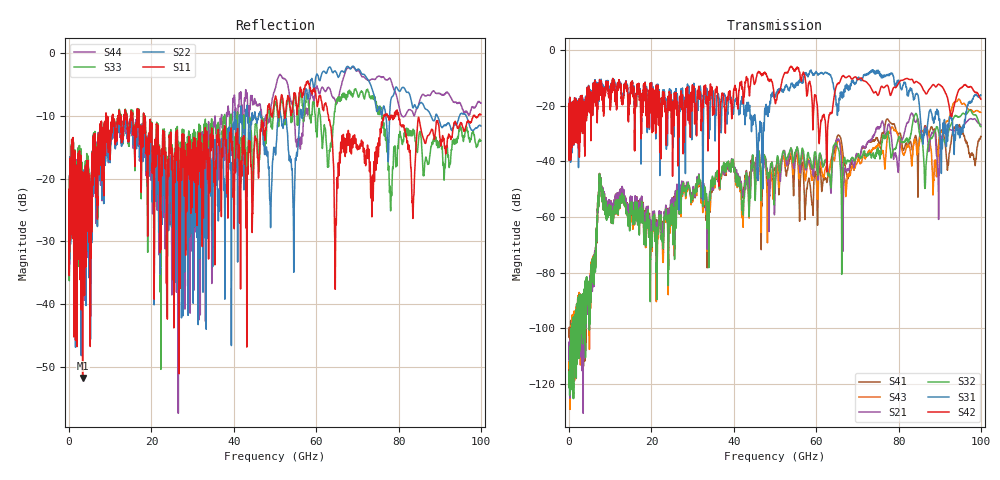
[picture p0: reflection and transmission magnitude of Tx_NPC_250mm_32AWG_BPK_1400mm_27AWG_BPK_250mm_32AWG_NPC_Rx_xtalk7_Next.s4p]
! Info: Touchstone file created by Circ.  Input file=Tx_NPC_250mm_32AWG_BPK_1400mm_27AWG_BPK_250mm_32AWG_NPC_Rx.circ
# Hz S RI R 50
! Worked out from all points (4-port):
!   10000 points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, 10 MHz to 100 GHz, reference 50 ohm
!   strongest paths, dB at 10 MHz, 25.01 GHz, 50.01 GHz, 75.01 GHz, 100 GHz:
!     S42: -25.8, -19.4, -18.4, -16.3, -17.6
!     S31: -25.8, -18.3, -16.1, -7.5, -16.2
!     S32: -115.8, -56.2, -47.0, -35.1, -27.5
!     S21: -105.2, -53.8, -51.1, -28.3, -26.9
!     S43: -119.5, -56.0, -44.2, -33.7, -22.4
!     S41: -100.4, -53.9, -42.3, -32.6, -31.0
!   lowest |S11| = -51.8 dB at 3.29 GHz (marker M1), VSWR 1.01, Z = 50.2 - j0.139 ohm
!   |S11| at or under -10 dB: 18.16 GHz to 47.98 GHz (29.81 GHz wide, 90.2 % of centre); 62.97 GHz to 76.45 GHz (13.47 GHz wide, 19.3 % of centre); 80.04 GHz to 98.12 GHz (18.08 GHz wide, 20.3 % of centre) (the widest 3 of 42)
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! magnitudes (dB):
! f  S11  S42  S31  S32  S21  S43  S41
! 10 MHz  -21.7  -25.8  -25.8  -115.8  -105.2  -119.5  -100.4
! 3.29 GHz  -51.8  -19.5  -19.2  -89.6  -98.4  -92.9  -95.3
! 7.72 GHz  -12.9  -14.1  -13.2  -46.0  -45.9  -46.1  -46.0
! 21.29 GHz  -11.5  -14.8  -14.1  -78.6  -74.9  -75.5  -72.5
! 38.33 GHz  -22.2  -17.9  -25.6  -40.4  -40.8  -41.0  -41.6
! 88.77 GHz  -13.6  -12.8  -24.4  -29.2  -29.2  -39.6  -28.5
! 100 GHz  -9.8  -17.6  -16.2  -27.5  -26.9  -22.4  -31.0
